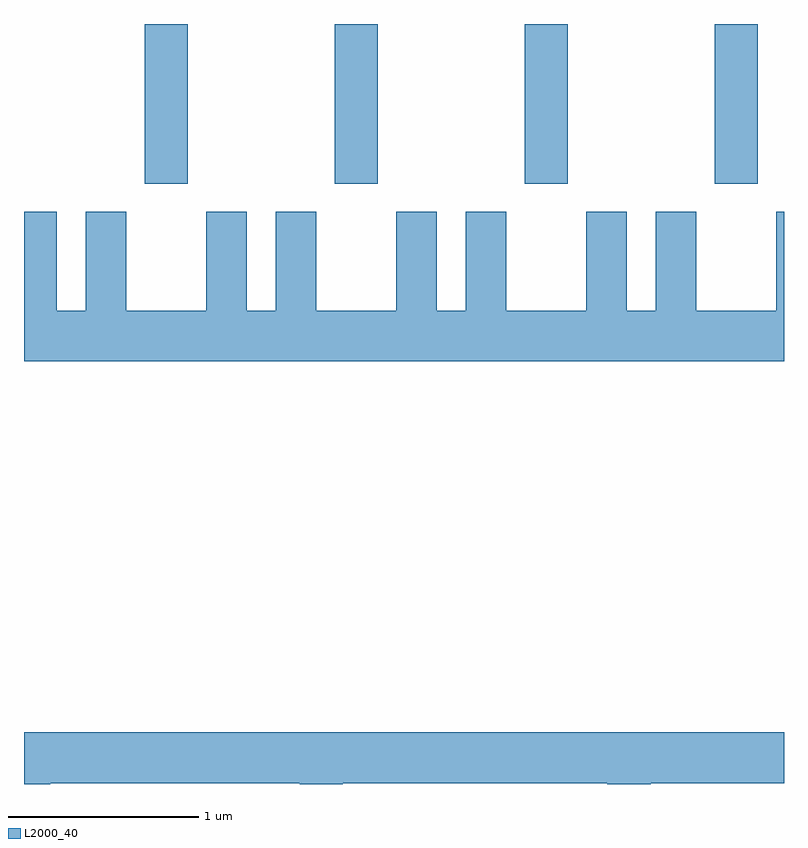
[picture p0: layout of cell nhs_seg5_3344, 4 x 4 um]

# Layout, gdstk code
import gdstk
lib = gdstk.Library(unit=1e-6, precision=1e-09)
def R(c, l, rs):  # rectangles x0, y0, x1, y1
    for r in rs: c.add(gdstk.rectangle(r[:2], r[2:], *l))
def A(c, l, x, y, w, h, nx, ny, dx, dy):  # array of equal rectangles
    R(c, l, [(x+i*dx, y+j*dy, x+i*dx+w, y+j*dy+h) for i in range(nx) for j in range(ny)])
def P(c, l, *ps):  # polygons
    for p in ps: c.add(gdstk.Polygon(p, *l))
L2000_40 = (2000, 40)

nhs_seg5_3344 = lib.new_cell('nhs_seg5_3344')
A(nhs_seg5_3344, L2000_40, 284.246, 1513.231, 0.228, 0.841, 4, 1, 1, 0)
P(nhs_seg5_3344, L2000_40, [(287.611,1513.084),(287.571,1513.084),(287.571,1512.564),(287.149,1512.564),(287.149,1513.084),(286.936,1513.084),(286.936,1512.564),(286.784,1512.564),(286.784,1513.084),(286.571,1513.084),(286.571,1512.564),(286.149,1512.564),(286.149,1513.084),(285.936,1513.084),(285.936,1512.564),(285.784,1512.564),(285.784,1513.084),(285.571,1513.084),(285.571,1512.564),(285.149,1512.564),(285.149,1513.084),(284.936,1513.084),(284.936,1512.564),(284.784,1512.564),(284.784,1513.084),(284.571,1513.084),(284.571,1512.564),(284.149,1512.564),(284.149,1513.084),(283.936,1513.084),(283.936,1512.564),(283.784,1512.564),(283.784,1513.084),(283.611,1513.084),(283.611,1512.296),(287.611,1512.296)],
  [(283.749,1510.076),(285.061,1510.076),(285.061,1510.072),(285.289,1510.072),(285.289,1510.076),(286.681,1510.076),(286.681,1510.072),(286.909,1510.072),(286.909,1510.076),(287.611,1510.076),(287.611,1510.344),(283.611,1510.344),(283.611,1510.072),(283.749,1510.072)])

lib.write_gds('nhs_seg5_3344.gds')
